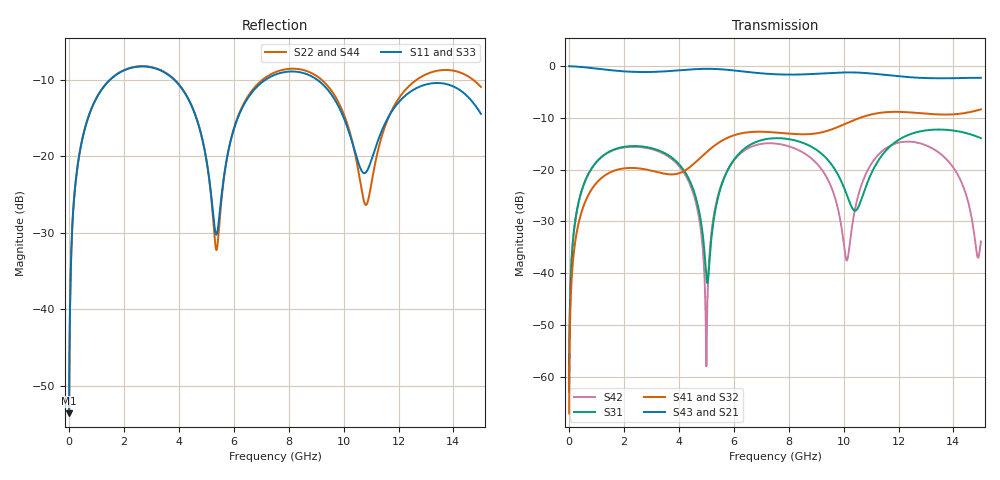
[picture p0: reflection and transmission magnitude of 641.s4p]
! Created with skrf 1.8.0 (http://scikit-rf.org).
# GHz S RI R 50.0
!freq ReS11 ImS11 ReS12 ImS12 ReS13 ImS13
! ReS14 ImS14
! ReS21 ImS21 ReS22 ImS22 ReS23 ImS23
! ReS24 ImS24
! ReS31 ImS31 ReS32 ImS32 ReS33 ImS33
! ReS34 ImS34
! ReS41 ImS41 ReS42 ImS42 ReS43 ImS43
! ReS44 ImS44
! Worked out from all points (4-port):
!   2499 points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, 5 MHz to 15 GHz, reference 50 ohm
!   strongest paths, dB at 5 MHz, 3.476 GHz, 7.19 GHz, 11.1 GHz, 15 GHz:
!     S43: 0.0, -1.0, -1.5, -1.5, -2.3
!     S21: 0.0, -1.0, -1.5, -1.5, -2.2
!     S41: -67.1, -20.8, -12.7, -9.2, -8.4
!     S32: -67.1, -20.8, -12.7, -9.2, -8.3
!     S31: -63.0, -16.8, -14.1, -19.8, -13.9
!     S42: -63.0, -17.0, -14.9, -18.2, -33.9
!   lowest |S11| = -53.6 dB at 5 MHz (marker M1), VSWR 1.00, Z = 50.2 + j0.127 ohm
!   |S11| at or under -10 dB: start of sweep to 1.487 GHz; 3.842 GHz to 7.143 GHz (3.301 GHz wide, 60.1 % of centre); 9.051 GHz to end of sweep
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0.005  0.00167 0.00126  0.9983 -0.00325  8.54e-05 0.000704  -8.27e-05 -0.000435
       0.9983 -0.00325  0.00167 0.00126  -8.27e-05 -0.000435  8.53e-05 0.000704
       8.54e-05 0.000704  -8.27e-05 -0.000435  0.00167 0.00126  0.9983 -0.00325
       -8.27e-05 -0.000435  8.53e-05 0.000704  0.9983 -0.00325  0.00167 0.00126
0.3626511  0.0311 0.0944  0.9569 -0.2322  0.0159 0.0473  -0.0129 -0.0286
           0.9569 -0.2322  0.0312 0.0944  -0.0129 -0.0286  0.0154 0.0475
           0.0159 0.0473  -0.0129 -0.0286  0.0311 0.0944  0.9569 -0.2322
           -0.0129 -0.0286  0.0154 0.0475  0.9569 -0.2322  0.0312 0.0944
1.825761  0.3205 0.1454  0.4178 -0.7936  0.1569 0.041  -0.0993 0.0174
          0.4178 -0.7936  0.3224 0.1435  -0.0993 0.0173  0.1525 0.0494
          0.1569 0.041  -0.0993 0.0173  0.3204 0.1453  0.4179 -0.7936
          -0.0993 0.0174  0.1525 0.0494  0.4179 -0.7936  0.3223 0.1436
5  0.0481 -0.0831  -0.8971 -0.2839  -0.00799 -0.00517  -0.0393 0.1415
   -0.8971 -0.2839  0.0419 -0.0865  -0.0401 0.1412  -0.00119 -0.000538
   -0.00799 -0.00517  -0.0401 0.1412  0.0477 -0.0817  -0.8973 -0.2837
   -0.0393 0.1415  -0.00119 -0.000538  -0.8973 -0.2837  0.0414 -0.0851
8.347228  0.3558 -0.029  -0.000498 0.8289  0.1463 -0.1179  0.2095 -0.0667
          -0.000498 0.8289  0.3701 -0.0465  0.2095 -0.0647  0.1436 -0.0578
          0.1463 -0.1179  0.2095 -0.0647  0.3558 -0.0284  -0.00173 0.8291
          0.2095 -0.0667  0.1436 -0.0578  -0.00173 0.8291  0.3694 -0.0459
11.10463  0.0934 0.0508  0.843 -0.0301  0.0416 0.0945  -0.0318 -0.344
          0.843 -0.0301  0.0628 0.0527  -0.0282 -0.344  0.0414 0.1165
          0.0416 0.0945  -0.0282 -0.344  0.0956 0.0556  0.8428 -0.0286
          -0.0318 -0.344  0.0414 0.1165  0.8428 -0.0286  0.0611 0.0568
15  0.18 -0.0615  -0.4481 -0.6304  -0.1043 -0.1722  -0.3072 0.2267
    -0.4481 -0.6304  0.2365 -0.1585  -0.3114 0.223  0.0057 0.0194
    -0.1043 -0.1722  -0.3114 0.223  0.1903 -0.0646  -0.4391 -0.6337
    -0.3072 0.2267  0.0057 0.0194  -0.4391 -0.6337  0.2444 -0.1641
